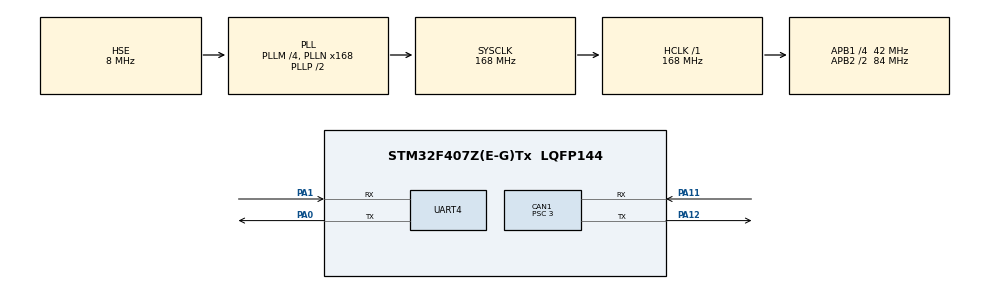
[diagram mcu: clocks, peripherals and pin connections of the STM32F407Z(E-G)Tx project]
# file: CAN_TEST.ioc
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CAN1.BS1=CAN_BS1_9TQ
CAN1.BS2=CAN_BS2_4TQ
CAN1.CalculateBaudRate=1000000
CAN1.CalculateTimeBit=1000
CAN1.CalculateTimeQuantum=71.42857142857143
CAN1.Mode=CAN_MODE_NORMAL
CAN1.Prescaler=3
CAN1.SJW=CAN_SJW_1TQ
Mcu.Family=STM32F4
Mcu.Name=STM32F407Z(E-G)Tx
Mcu.Package=LQFP144
NVIC.CAN1_RX0_IRQn=true\:0\:0\:false\:false\:true\:true\:true\:true
NVIC.PriorityGroup=NVIC_PRIORITYGROUP_4
PA0-WKUP.Mode=Asynchronous
PA0-WKUP.Signal=UART4_TX
PA1.Mode=Asynchronous
PA1.Signal=UART4_RX
PA11.Mode=CAN_Activate
PA11.Signal=CAN1_RX
PA12.Mode=CAN_Activate
PA12.Signal=CAN1_TX
PA13.Mode=Serial_Wire
PA13.Signal=SYS_JTMS-SWDIO
PA14.Mode=Serial_Wire
PA14.Signal=SYS_JTCK-SWCLK
PH0-OSC_IN.Mode=HSE-External-Oscillator
PH0-OSC_IN.Signal=RCC_OSC_IN
PH1-OSC_OUT.Mode=HSE-External-Oscillator
PH1-OSC_OUT.Signal=RCC_OSC_OUT
ProjectManager.HeapSize=0x200
ProjectManager.StackSize=0x400
ProjectManager.TargetToolchain=MDK-ARM V5.32
RCC.48MHZClocksFreq_Value=84000000
RCC.AHBFreq_Value=168000000
RCC.APB1CLKDivider=RCC_HCLK_DIV4
RCC.APB1Freq_Value=42000000
RCC.APB1TimFreq_Value=84000000
RCC.APB2CLKDivider=RCC_HCLK_DIV2
RCC.APB2Freq_Value=84000000
RCC.APB2TimFreq_Value=168000000
RCC.CortexFreq_Value=168000000
RCC.HCLKFreq_Value=168000000
RCC.HSE_VALUE=8000000
RCC.HSI_VALUE=16000000
RCC.LSE_VALUE=32768
RCC.PLLM=4
RCC.PLLN=168
RCC.PLLSourceVirtual=RCC_PLLSOURCE_HSE
RCC.SYSCLKFreq_VALUE=168000000
RCC.SYSCLKSource=RCC_SYSCLKSOURCE_PLLCLK
RCC.VCOOutputFreq_Value=336000000
UART4.VirtualMode=Asynchronous
board=custom

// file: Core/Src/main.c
/* USER CODE BEGIN Header */
/**
  ******************************************************************************
  * @file           : main.c
  * @brief          : Main program body
  ******************************************************************************
  * @attention
  *
  * Copyright (c) 2025 STMicroelectronics.
  * All rights reserved.
  *
  * This software is licensed under terms that can be found in the LICENSE file
  * in the root directory of this software component.
  * If no LICENSE file comes with this software, it is provided AS-IS.
  *
  ******************************************************************************
  */
/* USER CODE END Header */
#include "main.h"
#include "can.h"
#include "usart.h"
#include "gpio.h"

/* USER CODE BEGIN Includes */
#include "motor_can.h"
/* USER CODE END Includes */

/* USER CODE BEGIN PV */
uint8_t motor_enable[8]={0xFF,0xFF,0xFF,0xFF,0xFF,0xFF,0xFF,0xFC};
uint8_t data_CAN1[8] = {0,0,0,0,0,0,0,0};
unsigned char tail[4] = {0x00,0x00,0x80,0x7f};
int p_int = 0,v_int = 0,t_int = 0;
float position = 0,velocity = 0,torque = 0;
/* USER CODE END PV */

void SystemClock_Config(void);

int main(void)
{

  /* MCU Configuration--------------------------------------------------------*/

  /* Reset of all peripherals, Initializes the Flash interface and the Systick. */
  HAL_Init();

  /* Configure the system clock */
  SystemClock_Config();

  /* Initialize all configured peripherals */
  MX_GPIO_Init();
  MX_CAN1_Init();
  MX_UART4_Init();
  /* USER CODE BEGIN 2 */
  CANFilterConfig_Scale16_IdList(&hcan1,0x000,0x231,0x232,0x233,0);    //Master ID是0x000,CAN ID是0x001
  CAN_Start(&hcan1);
  CANx_SendStdData(&hcan1,0x001,motor_enable,8);  //先给电机使能
  /* USER CODE END 2 */

  /* Infinite loop */
  while (1)
  {

    /* USER CODE BEGIN 3 */
	  motor_control(&hcan1,0x001,0,2,0,1,0);
//	  HAL_UART_Transmit(&huart4,(uint8_t*)&p_int,1,HAL_MAX_DELAY);
//	  HAL_UART_Transmit(&huart4,(uint8_t*)&v_int,1,HAL_MAX_DELAY);
//	  HAL_UART_Transmit(&huart4,(uint8_t*)&t_int,1,HAL_MAX_DELAY);
//	  HAL_UART_Transmit(&huart4,(uint8_t*)&position,1,HAL_MAX_DELAY);
//	  HAL_UART_Transmit(&huart4,(uint8_t*)&velocity,1,HAL_MAX_DELAY);
//	  HAL_UART_Transmit(&huart4,(uint8_t*)&torque,1,HAL_MAX_DELAY);
//	  HAL_UART_Transmit(&huart4,tail,8,HAL_MAX_DELAY);
  }
  /* USER CODE END 3 */
}

void SystemClock_Config(void)
{
  RCC_OscInitTypeDef RCC_OscInitStruct = {0};
  RCC_ClkInitTypeDef RCC_ClkInitStruct = {0};

  /** Configure the main internal regulator output voltage
  */
  __HAL_RCC_PWR_CLK_ENABLE();
  __HAL_PWR_VOLTAGESCALING_CONFIG(PWR_REGULATOR_VOLTAGE_SCALE1);

  /** Initializes the RCC Oscillators according to the specified parameters
  * in the RCC_OscInitTypeDef structure.
  */
  RCC_OscInitStruct.OscillatorType = RCC_OSCILLATORTYPE_HSE;
  RCC_OscInitStruct.HSEState = RCC_HSE_ON;
  RCC_OscInitStruct.PLL.PLLState = RCC_PLL_ON;
  RCC_OscInitStruct.PLL.PLLSource = RCC_PLLSOURCE_HSE;
  RCC_OscInitStruct.PLL.PLLM = 4;
  RCC_OscInitStruct.PLL.PLLN = 168;
  RCC_OscInitStruct.PLL.PLLP = RCC_PLLP_DIV2;
  RCC_OscInitStruct.PLL.PLLQ = 4;
  if (HAL_RCC_OscConfig(&RCC_OscInitStruct) != HAL_OK)
  {
    Error_Handler();
  }

  /** Initializes the CPU, AHB and APB buses clocks
  */
  RCC_ClkInitStruct.ClockType = RCC_CLOCKTYPE_HCLK|RCC_CLOCKTYPE_SYSCLK
                              |RCC_CLOCKTYPE_PCLK1|RCC_CLOCKTYPE_PCLK2;
  RCC_ClkInitStruct.SYSCLKSource = RCC_SYSCLKSOURCE_PLLCLK;
  RCC_ClkInitStruct.AHBCLKDivider = RCC_SYSCLK_DIV1;
  RCC_ClkInitStruct.APB1CLKDivider = RCC_HCLK_DIV4;
  RCC_ClkInitStruct.APB2CLKDivider = RCC_HCLK_DIV2;

  if (HAL_RCC_ClockConfig(&RCC_ClkInitStruct, FLASH_LATENCY_5) != HAL_OK)
  {
    Error_Handler();
  }
}

/* USER CODE BEGIN 4 */
void HAL_CAN_RxFifo0MsgPendingCallback(CAN_HandleTypeDef *hcan)
{
	if(hcan->Instance ==CAN1)
	{
	  CAN_RxHeaderTypeDef RxHeader;
	  HAL_CAN_GetRxMessage(&hcan1, CAN_RX_FIFO0, &RxHeader, data_CAN1);
      p_int=(data_CAN1[1]<<8)|data_CAN1[2];
      v_int=(data_CAN1[3]<<4)|(data_CAN1[4]>>4);
      t_int=((data_CAN1[4]&0xF)<<8)|data_CAN1[5];
      position = uint_to_float(p_int, P_MIN, P_MAX, 16);
      velocity = uint_to_float(v_int, V_MIN, V_MAX, 12);
      torque = uint_to_float(t_int, T_MIN, T_MAX, 12);
	}

}
/* USER CODE END 4 */

void Error_Handler(void)
{
  __disable_irq();
  while (1)
  {
  }
}
